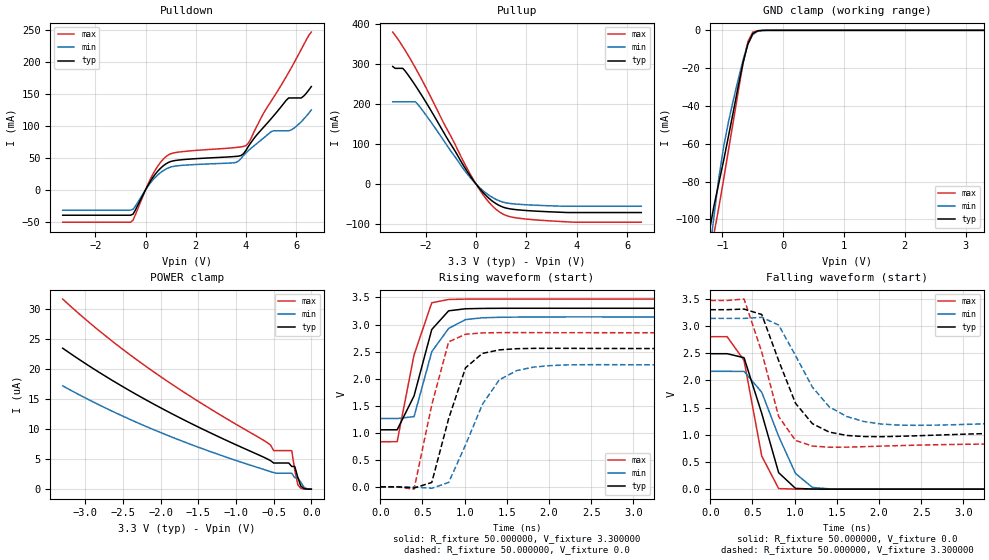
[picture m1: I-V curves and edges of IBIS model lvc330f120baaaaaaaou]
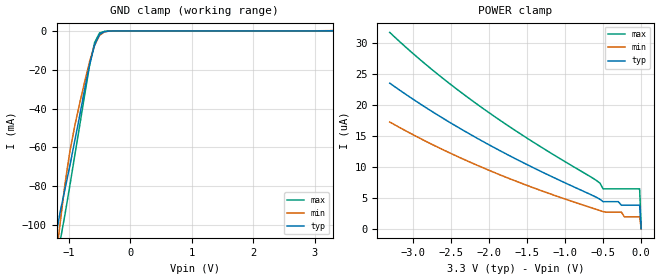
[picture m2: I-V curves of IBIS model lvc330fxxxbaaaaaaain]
| IBIS Models Generator: Lattice Diamond (64-bit) 3.7.0.96.1
| Generate date: Mon Dec 25 22:12:21 2017
| IBIS File xp2.ibs
| LibisGenD3 v1.1.A.A, 06/28/2007, Lattice Semiconductor Corporation
| North Carolina State University, ERL, 2006
[IBIS ver]   3.2
[File Name]   TEST_impl1.ibs
[File Rev]   2.3
[Date]   Aug 14, 2008
[Source]   Lattice Semiconductor CS100A Process
[Notes]   Lattice Semiconductor has worked hard to ensure the
   models below are accurate and complete.  However, the
   data below was generated using simulation of the
   input/output model files for the silicon.  Therefore,
   the data below is for reference and initial design
   purposes only.
   Lattice Semiconductor grants permission to use this
   data for use in printed circuit design using this
   Lattice programmable logic device.  Other use of this
   code, including the selling or duplication of any
   portion is strictly prohibited.
|   NAMING CONVENTION
   The IBIS [Model] header is limited by the specification to a
   total of 20 characters.  With such a set of characters available
   for naming models it becomes important to attempt to
   meaningfully encode the IO standards so they fit within the
   twenty character limit.  It would seem that twenty characters
   would provide room enough for describing IO's.  However, the
   PLD IO structure continues to grow more and more complex.  The
   complexity is making the twenty characters insuffiently
   descriptive.  In order to overcome this issue the naming
   convention described below is implemented to resolve the issue.
The twenty character space is managed as follows:
   bbbvvvsdddprugtcoixx
   b = standard
   v = voltage (x.xx V)
   s = slew code
   d = drive (xx.x ma)
   p = pullup code
   r = series resistance code
   u = terminate to vcc code
   g = terminate to gnd code
   t = terminate to vtt code
   c = common mode termination mode
   o = diff resistor code
   i = diff resistor current code
   x = reserved
   standard
   LVCMOS   lvc
   lvcmosd   lvd
   lvdse   lve
   LVTTL   lvt
   lvttld   ltd
   PCI   pci
   pcix   pcx
   AGP1x   ag1
   agp2x   ag2
   sstl_I   ss1
   sstl_II   ss2
   sstld_I   s1d
   sstld_II   s2d
   CTT   ctt
   hstl_i   hs1
   hstl_ii   hs2
   hstl_iii   hs3
   hstl_iv   hs4
   hstld_i   h1d
   hstld_ii   h2d
   gtl   gtl
   gtlplus   gtp
   lvds   lvs
   blvds   blv
   mlvds   mlv
   lvpecl   lvp
   cml   cml
   hypt   hyp
   rsds   rsd
   vref1   vr1
   vref2   vr2
   ref_res   rer
   slew
   na   a
   fast   f
   slow   s
   pullmode
   off   a
   pullup   b
   pulldown   c
   bushold   d
   pciclamp   e
   up_pciclamp   f
   down_pciclamp   g
   keeper_pciclamp   h
   schmitt   i
   up_schmitt   j
   down_schmitt   k
   keeper_schmitt   l
   up_pciclamp_schmitt   m
   down_pciclamp_schmitt   n
   keeper_pciclamp_schmitt  o
   pciclamp_schmitt   p
   impedence
   off   a
   25   b
   33   c
   50   d
   100   e
   termVCC
   off   a
   50   b
   100   c
   120   d
   termGND
   off   a
   50   b
   100   c
   120   d
   termVTT
   off   a
   60   b
   75   c
   120   d
   150   e
   210   f
   VCMT
   off   a
   VCMT   b
   VTT   c
   DDR-2   d
   differential resistor
   off   a
   120   b
   150   c
   220   d
   420   e
   differential current
   NA   a
   2   b
   3.5   c
   4   d
   6   e
   Reserved   IO type
   in   input only
   ou   output
   io   I/O
   od   Open drain
   on   Inverting differential I/O
   (signal name only)
   op   Non-Inverting differential I/O
   (signal name only)
   All the IO models are generated with pull mode set to UP.
   Lattice Semiconductor Corporation
   5555 NE Moore Court
   Hillsboro, OR 97214
   U.S.A
   TEL: 1-800-Lattice (USA and Canada)
   408-826-6000 (other locations)
   web: http://www.latticesemi.com/
   email: techsupport@latticesemi.com
[Disclaimer] This IBIS source code is intended as a design reference
   which illustrates how the Lattice Semiconductor device operates.
   It is the user's responsibility to verify their design for
   consistency and functionality through the use of formal
   verification methods.  Lattice Semiconductor provides no warranty
   regarding the use or functionality of this data.
[Copyright]   Copyright 2007 by Lattice Semiconductor Corporation
|   Component XP2
[Component]   XP2
[Manufacturer]   Lattice Semiconductor Corp.
[Package]
|TQFP144
| variable   typ   min   max
R_pkg   159.8m   143.8m   177.3m
L_pkg   7.50nH   6.44nH   8.48nH
C_pkg   1.22pF   1.06pF   1.38pF
[Pin] signal_name   model_name   R_pin   L_pin   C_pin
73   TEMP_CLK   lvc330f120baaaaaaaou
77   TEMP_CS   lvc330f120baaaaaaaou
74   TEMP_DATA   lvc330fxxxbaaaaaaain
142   XDAC_CS   lvc330f120baaaaaaaou
137   XDAC_LDAC   lvc330f120baaaaaaaou
134   XDAC_RST   lvc330f120baaaaaaaou
144   XDAC_RSTSEL   lvc330f120baaaaaaaou
143   XDAC_SCK   lvc330f120baaaaaaaou
138   XDAC_SDI   lvc330f120baaaaaaaou
19   XIADC_CLKIN   lvc330f120baaaaaaaou
21   XIADC_MDAT   lvc330fxxxbaaaaaaain
127   XPADC_CS   lvc330f120baaaaaaaou
124   XPADC_RST   lvc330f120baaaaaaaou
129   XPADC_SCK   lvc330f120baaaaaaaou
125   XPADC_SDI   lvc330f120baaaaaaaou
130   XPADC_SDO0   lvc330fxxxbaaaaaaain
32   XY_CLK   lvc330fxxxbaaaaaaain
36   XY_STATUS   lvc330f120baaaaaaaou
35   XY_SYNC   lvc330fxxxbaaaaaaain
30   XY_X   lvc330fxxxbaaaaaaain
31   XY_Y   lvc330fxxxbaaaaaaain
92   YDAC_CS   lvc330f120baaaaaaaou
91   YDAC_LDAC   lvc330f120baaaaaaaou
90   YDAC_RST   lvc330f120baaaaaaaou
93   YDAC_RSTSEL   lvc330f120baaaaaaaou
94   YDAC_SCK   lvc330f120baaaaaaaou
96   YDAC_SDI   lvc330f120baaaaaaaou
15   YIADC_CLKIN   lvc330f120baaaaaaaou
116   YPADC_CS   lvc330f120baaaaaaaou
114   YPADC_RST   lvc330f120baaaaaaaou
119   YPADC_SCK   lvc330f120baaaaaaaou
115   YPADC_SDI   lvc330f120baaaaaaaou
72   cfg_done   lvc330f120baaaaaaaou
78   clk_in   lvc330fxxxbaaaaaaain
38   uart_rx1   lvc330fxxxbaaaaaaain
37   uart_tx1   lvc330f120baaaaaaaou
39   uart_tx2   lvc330f120baaaaaaaou
| Models and submodels in the file (2): lvc330f120baaaaaaaou (Output), lvc330fxxxbaaaaaaain (Input)
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[Model]   lvc330f120baaaaaaaou
Model_type   Output
Polarity   Non-Inverting
Enable   Active-Low
Vmeas =   1.500000V
Cref =   0.0F
Rref =   1.000000M
Vref =   0.0V
C_comp   4.741800pF   3.966500pF   6.214600pF
[Temperature Range]   25.000000   0.105000k   -40.000000
[Voltage Range]   3.300000V   3.140000V   3.470000V
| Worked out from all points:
|   slope of the pulldown table from 0 to 0.495 V, typ, clamps not added: 16.7 ohm
|   slope of the pullup table from 0 to 0.495 V, typ, clamps not added: 14.2 ohm
|   GND clamp passes 1 mA (typ) near -0.46 V on its own axis
|   rising waveform, R_fixture 50.000000, V_fixture 3.300000: 20-80 % time 257ps typ, 274ps min, 244ps max; typ from 1.05 V to 3.3 V
|   rising waveform, R_fixture 50.000000, V_fixture 0.0: 20-80 % time 289ps typ, 393ps min, 257ps max; typ from 0 V to 2.52 V
|   falling waveform, R_fixture 50.000000, V_fixture 0.0: 20-80 % time 287ps typ, 346ps min, 211ps max; typ from 2.49 V to 0 V
|   falling waveform, R_fixture 50.000000, V_fixture 3.300000: 20-80 % time 355ps typ, 440ps min, 287ps max; typ from 3.3 V to 1.06 V
[Pulldown]
|Voltage   I(typ)   I(min)   I(max)
-3.3V     -39.97mA   -32.02mA   -50.9mA
-600mV    -39.97mA   -32.02mA   -50.9mA
-500mV    -38.32mA   -30.57mA   -47.88mA
300mV     19.82mA    15.86mA    25.07mA
600mV     33.92mA    27.06mA    43.27mA
900mV     42.68mA    34.15mA    54.57mA
3.6V      52.33mA    42.95mA    66.34mA
4V        61.93mA    58.02mA    69.35mA
5V        111.5mA    91.14mA    139mA
5.6V      140.4mA    92.52mA    177.3mA
6.2V      144.1mA    106.8mA    220.3mA
6.6V      161.9mA    125.2mA    247.4mA
[Pullup]
|Voltage   I(typ)   I(min)   I(max)
-3.3V     294.2mA    205.7mA    380.3mA
-3.2V     289.5mA    205.7mA    372.1mA
-2.9V     289.5mA    205.7mA    343.9mA
-2.4V     246.3mA    205.7mA    290.5mA
-500mV    46.63mA    37.95mA    56.74mA
-100mV    8.521mA    6.752mA    10.63mA
400mV     -29.15mA   -22.87mA   -37.04mA
900mV     -53.07mA   -41.53mA   -68.68mA
1.4V      -62.75mA   -49.13mA   -82.55mA
2.4V      -68mA      -53.25mA   -90.03mA
3.9V      -71.46mA   -55.67mA   -95.62mA
6.55V     -71.46mA   -55.67mA   -95.62mA
[GND_clamp]
|Voltage   I(typ)   I(min)   I(max)
-3.3V     -973.6mA   -960.1mA   -986.7mA
-1.22V    -107.1mA   -119.7mA   -121.2mA
-1.14V    -93mA      -98.67mA   -107.7mA
-1.06V    -80.91mA   -78.21mA   -93.77mA
-980mV    -68.78mA   -61.53mA   -78.77mA
-900mV    -55.89mA   -48.33mA   -63.31mA
-660mV    -17mA      -15.5mA    -17.3mA
-580mV    -7.105mA   -7.276mA   -5.84mA
-500mV    -1.708mA   -2.25mA    -942.2uA
-420mV    -271.3uA   -436.3uA   -184.8uA
-260mV    -5.418uA   -6.005uA   -9.589uA
3.3V      5.197nA    2.013uA    3.584nA
[POWER_clamp]
|Voltage   I(typ)   I(min)   I(max)
-3.3V     23.48uA    17.21uA    31.66uA
-2.62V    17.95uA    12.85uA    24.42uA
-1.82V    12.37uA    8.524uA    17.21uA
-580mV    5.012uA    3.08uA     7.717uA
-500mV    4.359uA    2.757uA    6.424uA
-300mV    4.359uA    2.659uA    6.424uA
-260mV    3.789uA    2.659uA    6.424uA
-220mV    3.789uA    1.906uA    3.195uA
-180mV    1.992uA    1.906uA    755.4nA
-140mV    529.4nA    1.185uA    153.1nA
-100mV    120.6nA    342.1nA    27.16nA
0V        5.197nA    13.91nA    4.244nA
[Ramp]
| variable   typ   min   max
dV/dt_r  1.512853/0.289318n  1.304577/0.392553n  1.699897/0.250846n
dV/dt_f  1.346639/0.354695n  1.124956/0.439742n  1.581274/0.282504n
R_load = 50.000000
[Rising Waveform]
R_fixture=   50.000000
V_fixture=   3.300000
V_fixture_min=   3.140000
V_fixture_max=   3.470000
|time   V(typ)   V(min)   V(max)
0s        1.054V     1.263V     833.7mV
200ps     1.054V     1.263V     834.2mV
400ps     1.68V      1.298V     2.439V
610ps     2.908V     2.498V     3.402V
810ps     3.253V     2.928V     3.463V
1.01ns    3.291V     3.091V     3.469V
1.21ns    3.297V     3.125V     3.47V
1.62ns    3.3V       3.137V     3.47V
20ns      3.3V       3.14V      3.47V
[Rising Waveform]
R_fixture=   50.000000
V_fixture=   0.0
V_fixture_min=   0.0
V_fixture_max=   0.0
|time   V(typ)   V(min)   V(max)
0s        50.01nV    193nV      27.36nV
400ps     -22.05mV   -3.512mV   -43.07mV
610ps     80.59mV    -25.75mV   1.515V
810ps     1.261V     80.65mV    2.679V
1.01ns    2.2V       773.7mV    2.82V
1.21ns    2.466V     1.524V     2.845V
1.41ns    2.531V     1.978V     2.85V
1.62ns    2.553V     2.15V      2.85V
2.02ns    2.56V      2.241V     2.849V
20ns      2.521V     2.174V     2.833V
[Falling Waveform]
R_fixture=   50.000000
V_fixture=   0.0
V_fixture_min=   0.0
V_fixture_max=   0.0
|time   V(typ)   V(min)   V(max)
0s        2.491V     2.166V     2.803V
200ps     2.491V     2.166V     2.803V
400ps     2.417V     2.165V     2.367V
610ps     1.391V     1.781V     608mV
810ps     302.9mV    971.1mV    10.7mV
1.01ns    13.82mV    287.9mV    1.114mV
1.21ns    2.284mV    31.82mV    42.15uV
1.41ns    521.7uV    5.569mV    -162.8uV
20ns      217.9nV    456.7nV    120.1nV
[Falling Waveform]
R_fixture=   50.000000
V_fixture=   3.300000
V_fixture_min=   3.140000
V_fixture_max=   3.470000
|time   V(typ)   V(min)   V(max)
0s        3.3V       3.14V      3.47V
400ps     3.311V     3.139V     3.495V
610ps     3.211V     3.16V      2.52V
810ps     2.364V     3.017V     1.336V
1.01ns    1.579V     2.456V     895.3mV
1.21ns    1.204V     1.875V     792.4mV
1.41ns    1.049V     1.512V     771.4mV
1.62ns    987mV      1.333V     772.6mV
2.22ns    970.8mV    1.178V     800mV
20ns      1.056V     1.265V     834.5mV
[Model]   lvc330fxxxbaaaaaaain
Model_type   Input
Polarity   Non-Inverting
Enable   Active-Low
Vinl =   0.800000V
Vinh =   2.000000V
C_comp   4.741800pF   3.966500pF   6.214600pF
[Temperature Range]   25.000000   0.105000k   -40.000000
[Voltage Range]   3.300000V   3.140000V   3.470000V
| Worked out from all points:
|   GND clamp passes 1 mA (typ) near -0.45 V on its own axis
[GND_clamp]
|Voltage   I(typ)   I(min)   I(max)
-3.3V     -973.6mA   -960.1mA   -986.7mA
-1.22V    -107.1mA   -119.7mA   -121.4mA
-1.14V    -93.07mA   -98.68mA   -108mA
-1.06V    -81.03mA   -78.22mA   -94.01mA
-980mV    -68.95mA   -61.56mA   -79mA
-900mV    -56.07mA   -48.39mA   -63.52mA
-660mV    -17.15mA   -15.62mA   -17.48mA
-580mV    -7.256mA   -7.403mA   -6.028mA
-500mV    -1.86mA    -2.377mA   -1.137mA
-420mV    -411uA     -556.6uA   -354.3uA
-260mV    -122.4uA   -114.9uA   -139.1uA
3.3V      5.177nA    77.16uA    -76.84uA
[POWER_clamp]
|Voltage   I(typ)   I(min)   I(max)
-3.3V     23.48uA    17.21uA    31.66uA
-2.78V    19.18uA    13.81uA    26.02uA
-2.22V    15.05uA    10.59uA    20.67uA
-1.5V     10.35uA    6.992uA    14.62uA
-580mV    5.012uA    3.08uA     7.717uA
-540mV    4.737uA    2.918uA    7.329uA
-500mV    4.359uA    2.758uA    6.424uA
-300mV    4.359uA    2.659uA    6.424uA
-260mV    3.795uA    2.659uA    6.424uA
-220mV    3.795uA    1.906uA    6.424uA
-20mV     3.795uA    1.906uA    6.424uA
0V        5.177nA    13.88nA    4.21nA
